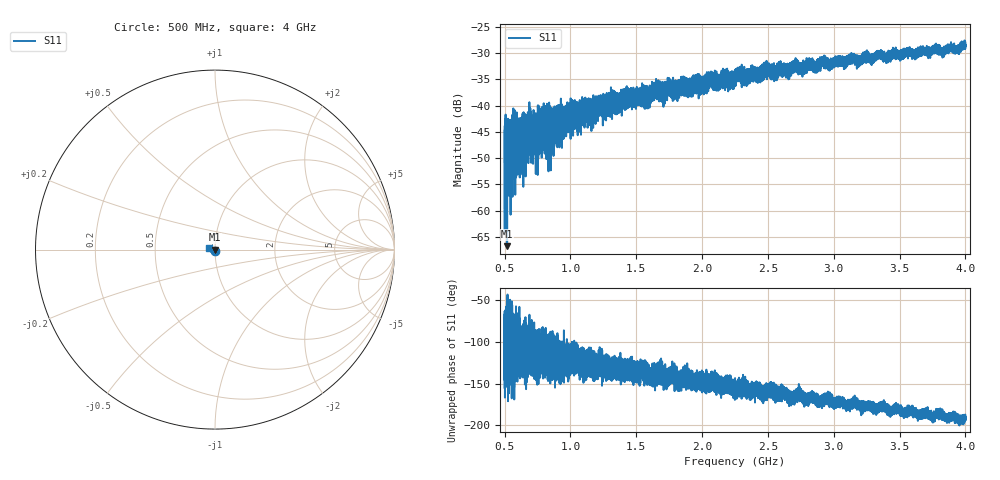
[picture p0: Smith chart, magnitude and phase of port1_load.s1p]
!Agilent Technologies,E8363C,MY49030273,A.09.42.18
!Agilent E8363C: A.09.42.18
!Date: Tuesday, May 03, 2022 03:56:45
!Correction: S11(Full 2 Port(1,2))
!S1P File: Measurement: S11:
# Hz S  dB  R 50
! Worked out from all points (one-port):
!   32001 points, 500 MHz to 4 GHz, reference 50 ohm
!   lowest |S11| = -66.8 dB at 519 MHz (marker M1), VSWR 1.00, Z = 50 - j0.0255 ohm
!   |S11| at or under -10 dB: start of sweep to end of sweep
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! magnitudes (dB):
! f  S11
! 500 MHz  -44.0
! 519 MHz  -66.8
! 586.2 MHz  -42.4
! 937.5 MHz  -41.2
! 1.218 GHz  -40.5
! 1.375 GHz  -40.3
! 1.427 GHz  -39.4
! 1.482 GHz  -37.6
! 1.651 GHz  -36.9
! 1.812 GHz  -37.6
! 2.021 GHz  -35.6
! 2.064 GHz  -34.9
! 2.122 GHz  -34.3
! 2.25 GHz  -33.6
! 2.497 GHz  -32.5
! 2.542 GHz  -33.7
! 2.65 GHz  -33.8
! 2.688 GHz  -32.0
! 2.863 GHz  -32.9
! 2.922 GHz  -31.2
! 2.977 GHz  -31.7
! 3.125 GHz  -31.0
! 3.19 GHz  -31.7
! 3.562 GHz  -29.8
! 3.621 GHz  -30.2
! 3.772 GHz  -29.1
! 3.83 GHz  -29.8
! 4 GHz  -28.7
